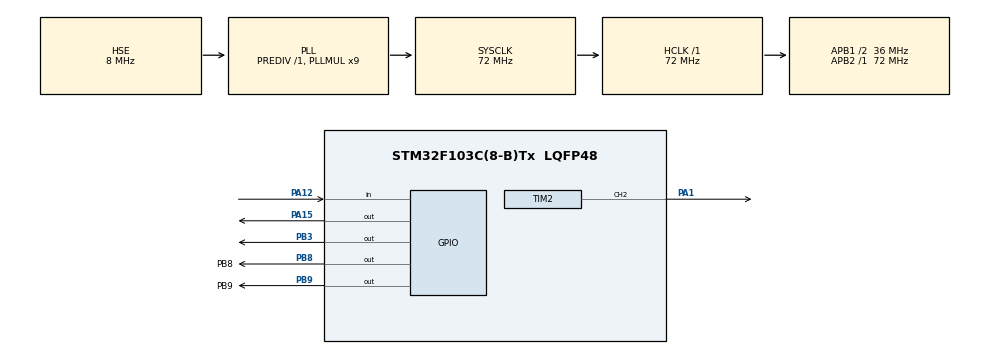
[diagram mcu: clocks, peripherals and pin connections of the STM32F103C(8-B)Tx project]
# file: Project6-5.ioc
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Mcu.Family=STM32F1
Mcu.Name=STM32F103C(8-B)Tx
Mcu.Package=LQFP48
NVIC.PriorityGroup=NVIC_PRIORITYGROUP_4
PA1.Signal=S_TIM2_CH2
PA12.GPIO_PuPd=GPIO_PULLUP
PA12.Signal=GPIO_Input
PA13.Mode=Serial_Wire
PA13.Signal=SYS_JTMS-SWDIO
PA14.Mode=Serial_Wire
PA14.Signal=SYS_JTCK-SWCLK
PA15.Signal=GPIO_Output
PB3.Signal=GPIO_Output
PB8.GPIO_Label=PB8
PB8.GPIO_ModeDefaultOutputPP=GPIO_MODE_OUTPUT_OD
PB8.GPIO_PuPd=GPIO_NOPULL
PB8.Signal=GPIO_Output
PB9.GPIO_Label=PB9
PB9.GPIO_ModeDefaultOutputPP=GPIO_MODE_OUTPUT_OD
PB9.GPIO_PuPd=GPIO_NOPULL
PB9.Signal=GPIO_Output
PD0-OSC_IN.Mode=HSE-External-Oscillator
PD0-OSC_IN.Signal=RCC_OSC_IN
PD1-OSC_OUT.Mode=HSE-External-Oscillator
PD1-OSC_OUT.Signal=RCC_OSC_OUT
ProjectManager.HeapSize=0x200
ProjectManager.StackSize=0x400
ProjectManager.TargetToolchain=MDK-ARM V5.32
RCC.AHBFreq_Value=72000000
RCC.APB1CLKDivider=RCC_HCLK_DIV2
RCC.APB1Freq_Value=36000000
RCC.APB1TimFreq_Value=72000000
RCC.APB2Freq_Value=72000000
RCC.APB2TimFreq_Value=72000000
RCC.HCLKFreq_Value=72000000
RCC.PLLMUL=RCC_PLL_MUL9
RCC.PLLSourceVirtual=RCC_PLLSOURCE_HSE
RCC.SYSCLKFreq_VALUE=72000000
RCC.SYSCLKSource=RCC_SYSCLKSOURCE_PLLCLK
RCC.USBFreq_Value=72000000
SH.S_TIM2_CH2.0=TIM2_CH2,PWM Generation2 CH2
TIM2.Channel-PWM\ Generation2\ CH2=TIM_CHANNEL_2
TIM2.Period=99
TIM2.Prescaler=71
TIM2.Pulse-PWM\ Generation2\ CH2=20
VP_TIM2_VS_ClockSourceINT.Mode=Internal
board=custom

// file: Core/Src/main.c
/* USER CODE BEGIN Header */
/**
  ******************************************************************************
  * @file           : main.c
  * @brief          : Main program body
  ******************************************************************************
  * @attention
  *
  * Copyright (c) 2025 STMicroelectronics.
  * All rights reserved.
  *
  * This software is licensed under terms that can be found in the LICENSE file
  * in the root directory of this software component.
  * If no LICENSE file comes with this software, it is provided AS-IS.
  *
  ******************************************************************************
  */
/* USER CODE END Header */
#include "main.h"
#include "tim.h"
#include "gpio.h"

/* USER CODE BEGIN Includes */
#include "OLED.h"
/* USER CODE END Includes */

/* USER CODE BEGIN PTD */
uint16_t Speed = 0;
/* USER CODE END PTD */

void SystemClock_Config(void);

/* USER CODE BEGIN 0 */
// 直流电机控制函数
void SetSpeed(int8_t Speed)
{
	// 控制方向，以及通过PWM信号控制转速
	if(Speed >= 0)
	{
		HAL_GPIO_WritePin(GPIOA,GPIO_PIN_15,GPIO_PIN_SET);
		HAL_GPIO_WritePin(GPIOB,GPIO_PIN_3,GPIO_PIN_RESET);
		__HAL_TIM_SET_COMPARE(&htim2,TIM_CHANNEL_2,Speed);
	}
	else
	{
		HAL_GPIO_WritePin(GPIOA,GPIO_PIN_15,GPIO_PIN_RESET);
		HAL_GPIO_WritePin(GPIOB,GPIO_PIN_3,GPIO_PIN_SET);
		__HAL_TIM_SET_COMPARE(&htim2,TIM_CHANNEL_2,Speed);
	}
}
/* USER CODE END 0 */

int main(void)
{

  /* MCU Configuration--------------------------------------------------------*/

  /* Reset of all peripherals, Initializes the Flash interface and the Systick. */
  HAL_Init();

  /* Configure the system clock */
  SystemClock_Config();

  /* Initialize all configured peripherals */
  MX_GPIO_Init();
  MX_TIM2_Init();
  /* USER CODE BEGIN 2 */
  // OLED 和 PWM输出 初始化
  // 按照之前的项目中的方法配置OLED屏和按键
  // 将TIM2 的CHANNEL2设置成PWM输出模式并且进行相关设置
  OLED_Init();
  HAL_TIM_PWM_Start(&htim2,TIM_CHANNEL_2);
  OLED_Clear();// 清屏
  OLED_ShowString(1,1,"Speed:");// 一行一列显示Speed：
  /* USER CODE END 2 */

  /* Infinite loop */
  /* USER CODE BEGIN WHILE */
  while (1)
  {
	  // 按键检测
	if(HAL_GPIO_ReadPin(GPIOA,GPIO_PIN_12) == GPIO_PIN_RESET)
	{
		HAL_Delay(20);// 消抖
		while(HAL_GPIO_ReadPin(GPIOA,GPIO_PIN_12) == GPIO_PIN_RESET);// 等待按键释放
		HAL_Delay(20);// 消抖
		Speed += 1;    // 加速
		if (Speed > 5)// 限制速度范围
			Speed = -5;
	}
	SetSpeed(Speed*20);  // 将当前速度通过PWM输出给直流电机
	OLED_ShowSignedNum(1,7,Speed*20,3);// 将当前电机速度显示在OLED上
    /* USER CODE END WHILE */

  }
}

void SystemClock_Config(void)
{
  RCC_OscInitTypeDef RCC_OscInitStruct = {0};
  RCC_ClkInitTypeDef RCC_ClkInitStruct = {0};

  /** Initializes the RCC Oscillators according to the specified parameters
  * in the RCC_OscInitTypeDef structure.
  */
  RCC_OscInitStruct.OscillatorType = RCC_OSCILLATORTYPE_HSE;
  RCC_OscInitStruct.HSEState = RCC_HSE_ON;
  RCC_OscInitStruct.HSEPredivValue = RCC_HSE_PREDIV_DIV1;
  RCC_OscInitStruct.HSIState = RCC_HSI_ON;
  RCC_OscInitStruct.PLL.PLLState = RCC_PLL_ON;
  RCC_OscInitStruct.PLL.PLLSource = RCC_PLLSOURCE_HSE;
  RCC_OscInitStruct.PLL.PLLMUL = RCC_PLL_MUL9;
  if (HAL_RCC_OscConfig(&RCC_OscInitStruct) != HAL_OK)
  {
    Error_Handler();
  }

  /** Initializes the CPU, AHB and APB buses clocks
  */
  RCC_ClkInitStruct.ClockType = RCC_CLOCKTYPE_HCLK|RCC_CLOCKTYPE_SYSCLK
                              |RCC_CLOCKTYPE_PCLK1|RCC_CLOCKTYPE_PCLK2;
  RCC_ClkInitStruct.SYSCLKSource = RCC_SYSCLKSOURCE_PLLCLK;
  RCC_ClkInitStruct.AHBCLKDivider = RCC_SYSCLK_DIV1;
  RCC_ClkInitStruct.APB1CLKDivider = RCC_HCLK_DIV2;
  RCC_ClkInitStruct.APB2CLKDivider = RCC_HCLK_DIV1;

  if (HAL_RCC_ClockConfig(&RCC_ClkInitStruct, FLASH_LATENCY_2) != HAL_OK)
  {
    Error_Handler();
  }
}

void Error_Handler(void)
{
  __disable_irq();
  while (1)
  {
  }
}
